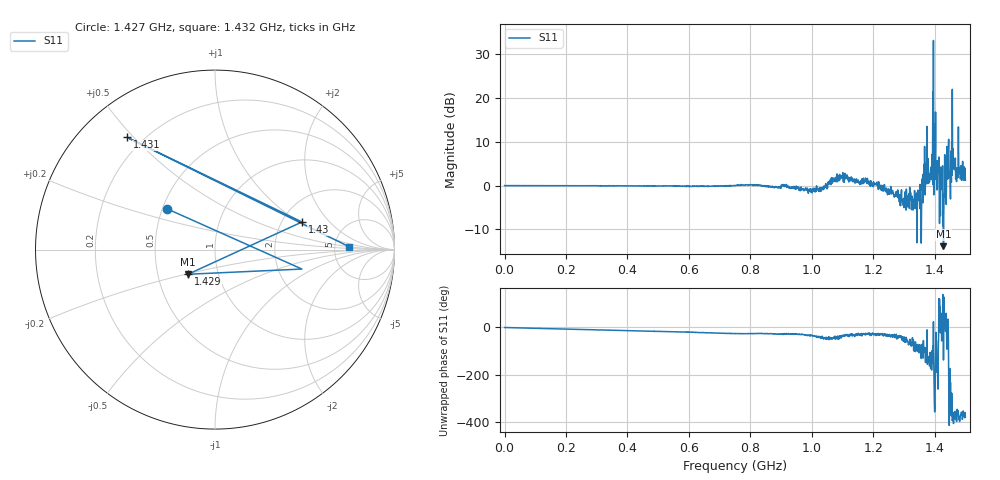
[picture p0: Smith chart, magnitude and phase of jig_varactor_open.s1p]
# Hz S RI R 50
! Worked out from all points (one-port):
!   1515 points, 50 kHz to 1.5 GHz, reference 50 ohm
!   lowest |S11| = -13.8 dB at 1.429 GHz (marker M1), VSWR 1.51, Z = 35.7 - j10.2 ohm
!   |S11| at or under -10 dB: 1.342209 GHz to 1.342797 GHz (588.8 kHz wide, 0.0439 % of centre); 1.356019 GHz to 1.356719 GHz (700.2 kHz wide, 0.0516 % of centre); 1.428177 GHz to 1.429143 GHz (965.5 kHz wide, 0.0676 % of centre)
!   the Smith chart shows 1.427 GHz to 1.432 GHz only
!   S11 on the Smith chart (normalised r, x): 1.427 GHz: 0.53, +0.27; 1.429 GHz: 0.71, -0.20; 1.43 GHz: 2.56, +1.06; 1.431 GHz: 0.14, +0.48; 1.432 GHz: 6.83, +0.51
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50000  1 9.58e-06
1.882866e8  0.9907 -0.1113
3.755325e8  0.969 -0.214
5.627784e8  0.9413 -0.3159
7.500243e8  0.9046 -0.4308
9.382609e8  0.8423 -0.4498
1.125507e9  1.106 -0.5681
1.312753e9  0.3318 -0.6201
1.368233e9  0.1089 -1.099
1.386066e9  -1.291 -0.5701
1.388047e9  -1.149 -0.8379
1.389038e9  -0.7343 -1.392
1.398945e9  3.381 3.469
1.402908e9  -5.466 -4.203
1.403899e9  1.092 -0.4088
1.408852e9  -0.9035 -0.2146
1.414797e9  1.087 0.7806
1.426685e9  -0.265 0.2263
1.428667e9  -0.1505 -0.1374
1.429658e9  0.4846 0.1539
1.430648e9  -0.4903 0.6254
1.431639e9  0.7458 0.0167
1.442537e9  1.132 0.3471
1.449472e9  -1.262 -0.1433
1.453435e9  1.384 0.5967
1.463342e9  1.519 -0.0526
1.468296e9  1.184 0.0661
1.499999e9  1.089 -0.3728
